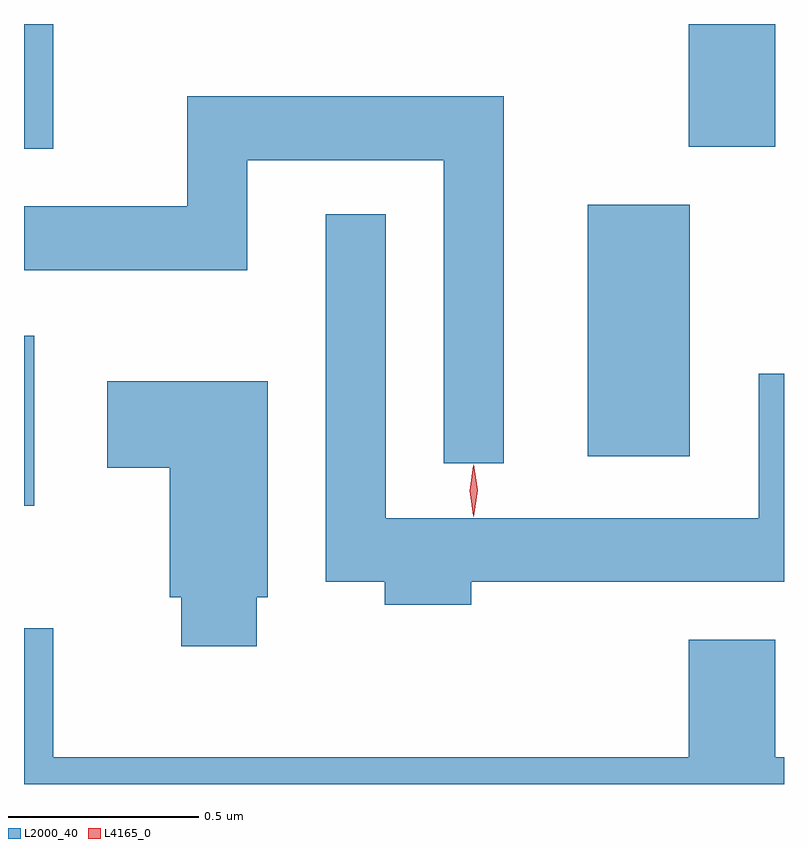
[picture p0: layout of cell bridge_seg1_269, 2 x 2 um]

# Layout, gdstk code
import gdstk
lib = gdstk.Library(unit=1e-6, precision=1e-09)
def R(c, l, rs):  # rectangles x0, y0, x1, y1
    for r in rs: c.add(gdstk.rectangle(r[:2], r[2:], *l))
def P(c, l, *ps):  # polygons
    for p in ps: c.add(gdstk.Polygon(p, *l))
L2000_40 = (2000, 40)
L4165_0 = (4165, 0)

bridge_seg1_269 = lib.new_cell('bridge_seg1_269')
R(bridge_seg1_269, L2000_40, [(953.772,882.746,953.799,883.194), (955.256,882.876,955.524,883.539), (953.772,883.686,953.849,884.014), (955.521,883.691,955.749,884.014)])
P(bridge_seg1_269, L2000_40, [(955.034,883.824),(954.201,883.824),(954.201,883.534),(953.772,883.534),(953.772,883.366),(954.359,883.366),(954.359,883.656),(954.876,883.656),(954.876,882.858),(955.034,882.858)],
  [(954.949,882.546),(955.772,882.546),(955.772,883.093),(955.706,883.093),(955.706,882.714),(954.724,882.714),(954.724,883.513),(954.566,883.513),(954.566,882.546),(954.721,882.546),(954.721,882.486),(954.949,882.486)],
  [(954.384,882.506),(954.414,882.506),(954.414,883.074),(953.991,883.074),(953.991,882.846),(954.156,882.846),(954.156,882.506),(954.186,882.506),(954.186,882.376),(954.384,882.376)],
  [(955.772,882.084),(955.749,882.084),(955.749,882.394),(955.521,882.394),(955.521,882.084),(953.849,882.084),(953.849,882.424),(953.772,882.424),(953.772,882.014),(955.772,882.014)])
P(bridge_seg1_269, L4165_0, [(954.955,882.717),(954.946,882.787),(954.955,882.856),(954.956,882.856),(954.956,882.856),(954.966,882.787),(954.956,882.717),(954.956,882.717)],
  [(954.955,882.719),(954.954,882.72),(954.945,882.786),(954.954,882.852),(954.955,882.853),(954.955,882.852),(954.965,882.786),(954.955,882.72)])

lib.write_gds('bridge_seg1_269.gds')
